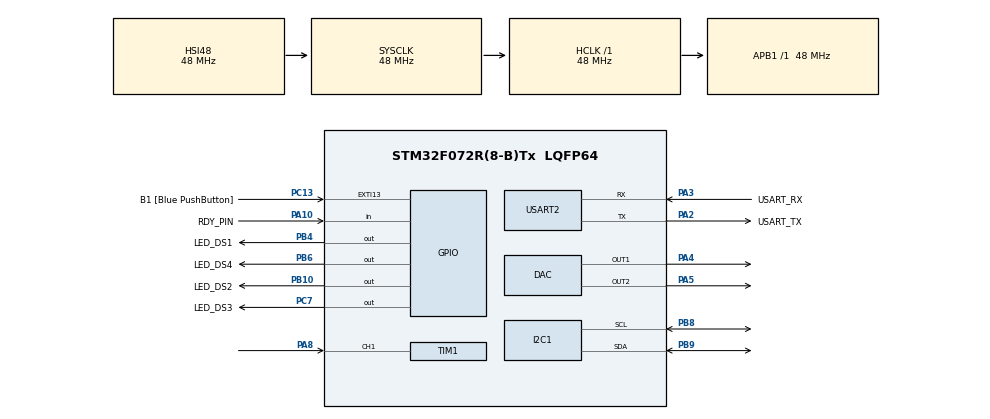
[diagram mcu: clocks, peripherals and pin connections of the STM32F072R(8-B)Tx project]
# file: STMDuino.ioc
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Mcu.Family=STM32F0
Mcu.Name=STM32F072R(8-B)Tx
Mcu.Package=LQFP64
PA10.GPIO_Label=RDY_PIN
PA10.GPIO_PuPd=GPIO_PULLUP
PA10.Signal=GPIO_Input
PA13.GPIO_Label=TMS
PA13.Mode=Serial_Wire
PA13.Signal=SYS_SWDIO
PA14.GPIO_Label=TCK
PA14.Mode=Serial_Wire
PA14.Signal=SYS_SWCLK
PA2.GPIO_Label=USART_TX
PA2.GPIO_Mode=GPIO_MODE_AF_PP
PA2.GPIO_PuPd=GPIO_NOPULL
PA2.GPIO_Speed=GPIO_SPEED_FREQ_LOW
PA2.Mode=Asynchronous
PA2.Signal=USART2_TX
PA3.GPIO_Label=USART_RX
PA3.GPIO_Mode=GPIO_MODE_AF_PP
PA3.GPIO_PuPd=GPIO_NOPULL
PA3.GPIO_Speed=GPIO_SPEED_FREQ_LOW
PA3.Mode=Asynchronous
PA3.Signal=USART2_RX
PA4.Signal=COMP_DAC1_group
PA5.Signal=COMP_DAC2_group
PA8.Signal=S_TIM1_CH1
PB10.GPIO_Label=LED_DS2
PB10.Signal=GPIO_Output
PB4.GPIO_Label=LED_DS1
PB4.Signal=GPIO_Output
PB6.GPIO_Label=LED_DS4
PB6.Signal=GPIO_Output
PB8.Mode=I2C
PB8.Signal=I2C1_SCL
PB9.Mode=I2C
PB9.Signal=I2C1_SDA
PC13.GPIO_Label=B1 [Blue PushButton]
PC13.GPIO_ModeDefaultEXTI=GPIO_MODE_IT_FALLING
PC13.Signal=GPXTI13
PC14-OSC32_IN.Mode=LSE-External-Oscillator
PC14-OSC32_IN.Signal=RCC_OSC32_IN
PC15-OSC32_OUT.Mode=LSE-External-Oscillator
PC15-OSC32_OUT.Signal=RCC_OSC32_OUT
PC7.GPIO_Label=LED_DS3
PC7.Signal=GPIO_Output
PF0-OSC_IN.Mode=HSE-External-Clock-Source
PF0-OSC_IN.Signal=RCC_OSC_IN
PF1-OSC_OUT.Signal=RCC_OSC_OUT
ProjectManager.HeapSize=0x200
ProjectManager.StackSize=0x400
ProjectManager.TargetToolchain=SW4STM32
RCC.AHBFreq_Value=48000000
RCC.APB1Freq_Value=48000000
RCC.APB1TimFreq_Value=48000000
RCC.FLatency-AdvancedSettings=FLASH_LATENCY_1
RCC.HCLKFreq_Value=48000000
RCC.PLLDivider=RCC_PREDIV_DIV2
RCC.PLLMUL=RCC_PLL_MUL12
RCC.PREFETCH_ENABLE-AdvancedSettings=1
RCC.SYSCLKFreq_VALUE=48000000
RCC.SYSCLKSource=RCC_SYSCLKSOURCE_HSI48
SH.COMP_DAC1_group.0=DAC_OUT1,DAC_OUT1
SH.COMP_DAC2_group.0=DAC_OUT2,DAC_OUT2
SH.S_TIM1_CH1.0=TIM1_CH1,Input_Capture1_from_TI1
TIM1.Channel-Input_Capture1_from_TI1=TIM_CHANNEL_1
USART2.VirtualMode=VM_ASYNC
USART2.VirtualMode-Asynchronous=VM_ASYNC
VP_TIM1_VS_ClockSourceINT.Mode=Internal
board=NUCLEO-F072RB

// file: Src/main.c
/* USER CODE BEGIN Header */
/**
 ******************************************************************************
 * @file           : main.c
 * @brief          : Main program body
 ******************************************************************************
 ** This notice applies to any and all portions of this file
 * that are not between comment pairs USER CODE BEGIN and
 * USER CODE END. Other portions of this file, whether
 * inserted by the user or by software development tools
 * are owned by their respective copyright owners.
 *
 * COPYRIGHT(c) 2020 STMicroelectronics
 *
 * Redistribution and use in source and binary forms, with or without
 *modification, are permitted provided that the following conditions are met:
 *   1. Redistributions of source code must retain the above copyright notice,
 *      this list of conditions and the following disclaimer.
 *   2. Redistributions in binary form must reproduce the above copyright
 *notice, this list of conditions and the following disclaimer in the
 *documentation and/or other materials provided with the distribution.
 *   3. Neither the name of STMicroelectronics nor the names of its contributors
 *      may be used to endorse or promote products derived from this software
 *      without specific prior written permission.
 *
 * THIS SOFTWARE IS PROVIDED BY THE COPYRIGHT HOLDERS AND CONTRIBUTORS "AS IS"
 * AND ANY EXPRESS OR IMPLIED WARRANTIES, INCLUDING, BUT NOT LIMITED TO, THE
 * IMPLIED WARRANTIES OF MERCHANTABILITY AND FITNESS FOR A PARTICULAR PURPOSE
 *ARE DISCLAIMED. IN NO EVENT SHALL THE COPYRIGHT HOLDER OR CONTRIBUTORS BE
 *LIABLE FOR ANY DIRECT, INDIRECT, INCIDENTAL, SPECIAL, EXEMPLARY, OR
 *CONSEQUENTIAL DAMAGES (INCLUDING, BUT NOT LIMITED TO, PROCUREMENT OF
 *SUBSTITUTE GOODS OR SERVICES; LOSS OF USE, DATA, OR PROFITS; OR BUSINESS
 *INTERRUPTION) HOWEVER CAUSED AND ON ANY THEORY OF LIABILITY, WHETHER IN
 *CONTRACT, STRICT LIABILITY, OR TORT (INCLUDING NEGLIGENCE OR OTHERWISE)
 *ARISING IN ANY WAY OUT OF THE USE OF THIS SOFTWARE, EVEN IF ADVISED OF THE
 *POSSIBILITY OF SUCH DAMAGE.
 *
 ******************************************************************************
 */
/* USER CODE END Header */

#include "main.h"
#include "dac.h"
#include "i2c.h"
#include "tim.h"
#include "usart.h"
#include "gpio.h"
#include "stm32f0xx_hal_dac.h"
#include "stdbool.h"

/* USER CODE BEGIN Includes */
#include <stdio.h>
#include <string.h>
#include <stdint.h>
#include <IQS_Series.h>
/* USER CODE END Includes */

/* USER CODE BEGIN PV */
uint8_t xres = 6;
uint8_t yres = 6;
uint8_t retToCenter = 0;
/* USER CODE END PV */

void SystemClock_Config(void);

/* USER CODE BEGIN 0 */
uint16_t DAC_Map(uint16_t input);
/* USER CODE END 0 */

int main(void)
{

  /* MCU Configuration--------------------------------------------------------*/

  /* Reset of all peripherals, Initializes the Flash interface and the Systick. */
  HAL_Init();

  /* Configure the system clock */
  SystemClock_Config();

  /* Initialize all configured peripherals */
  MX_GPIO_Init();
  MX_USART2_UART_Init();
  MX_I2C1_Init();
  MX_TIM1_Init();
  MX_DAC_Init();
  /* USER CODE BEGIN 2 */
    uint8_t TxHelloWorld[] = "Hello World\r\n";
    HAL_UART_Transmit(&huart2, (uint8_t*)TxHelloWorld, sizeof(TxHelloWorld),
                      1000);
    //HAL_GPIO_TogglePin(LD2_GPIO_Port, LD2_Pin);
    HAL_GPIO_TogglePin(GPIOB, LED_DS1_Pin);
    HAL_GPIO_TogglePin(GPIOB, LED_DS2_Pin);
    HAL_GPIO_TogglePin(LED_DS3_GPIO_Port, LED_DS3_Pin);
    HAL_GPIO_TogglePin(GPIOB, LED_DS4_Pin);

    IQS_Handle IQS = {&hi2c1, "Startup"};
    HAL_StatusTypeDef i2c_status;

    bool whyCantIJustReturn = 0;//turns out I can, clean later
    whyCantIJustReturn = IQS_CheckReset(&IQS);
    HAL_Delay(3);
    if (!whyCantIJustReturn){
    	RDY_Delay (5, 100);
    IQS_AckReset(&IQS);

    if (IQS.error != "Iz chill brah"){
        uint8_t ErrDec[] = "i2c Error \r\n";
        HAL_UART_Transmit(&huart2, (uint8_t*)ErrDec, sizeof(ErrDec), 1000);
        HAL_UART_Transmit(&huart2, (uint8_t*)IQS.error,
                         sizeof(IQS.error), 100);
    }
    }
    RDY_Delay (5, 100);
    IQS_resumeOperation(&IQS);

//    if (IQS.error != "Iz chill brah") {
//        int tries = 4;
//        for (int i = 0; i > tries; i++) {
//        	HAL_Delay(1);
//            uint8_t AckResErr[] = "Ack Reset Failed, retry\r\n";
//            HAL_UART_Transmit(&huart2, (uint8_t*)AckResErr, sizeof(AckResErr), 1000);
//            HAL_UART_Transmit(&huart2, (uint8_t*)IQS.error,
//                              sizeof(IQS.error), 100);
//			IQS_AckReset(&IQS);
//
//            if (IQS.error == "Iz chill brah") {
//                uint8_t AckResSuc[] = "Ack Reset Success\r\n";
//                HAL_UART_Transmit(&huart2, (uint8_t*)AckResSuc, sizeof(AckResSuc), 1000);
//                break;
//            }
//        }
//    }
//    IQS_resumeOperation(&IQS);
    char buf[80] = {0};
    uint8_t throwaway2=0;
    RDY_Delay (5, 100);
    i2c_status
        = HAL_I2C_Mem_Read(&hi2c1, IQS_I2C_Address, 0x0004, 1, &throwaway2, 1,
                           1000);  // address is for minor version, but line
                                   // mostly checks status.
    snprintf(buf, sizeof(buf), "Revision read as %u  \r\n", (unsigned)throwaway2);
    HAL_UART_Transmit(&huart2, (uint8_t*)buf, strlen(buf), 1000);

//    if (i2c_status != HAL_OK) {
//        MX_I2C1_Init();
//        if (IQS_CheckReset(&IQS) == 1) {
//            IQS_AckReset(&IQS);
//        }
//        uint8_t i2c_err_message[] = "i2c status error\r\n";
//        HAL_UART_Transmit(&huart2, (uint8_t*)i2c_err_message,
//                          sizeof(i2c_err_message), 100);
//    }
    RDY_Delay (5, 100);
    IQS_SystemConfig(&IQS);
    RDY_Delay (5, 100);
    IQS_ResoWriteXY(&IQS, xres, yres);

    snprintf(buf, sizeof(buf), "Reso set as %u by %u \r\n", (unsigned)xres,
             (unsigned)yres);
    HAL_UART_Transmit(&huart2, (uint8_t*)buf, strlen(buf), 1000);

    uint8_t read_x_res = 0;
    uint8_t read_y_res = 0;
    RDY_Delay (5, 100);
    IQS_ResoReadXY(&IQS, &read_x_res, &read_y_res);
    RDY_Delay (5, 100);
    IQS_resumeOperation(&IQS);
    snprintf(buf, sizeof(buf), "Reso read as %u by %u \r\n",
             (unsigned)read_x_res, (unsigned)read_y_res);
    HAL_UART_Transmit(&huart2, (uint8_t*)buf, strlen(buf), 1000);

//    HAL_DAC_Init(&hdac);
//    HAL_DAC_Start(&hdac, DAC_CHANNEL_1);
//    HAL_DAC_Start(&hdac, DAC_CHANNEL_2);
//    uint32_t initValue = 2048;
//    HAL_DAC_SetValue(&hdac, DAC_CHANNEL_1, DAC_ALIGN_12B_R, initValue);
//    HAL_DAC_SetValue(&hdac, DAC_CHANNEL_2, DAC_ALIGN_12B_R, initValue);

  /* USER CODE END 2 */

  /* Infinite loop */
  /* USER CODE BEGIN WHILE */
     while (1) {

         if (HAL_GPIO_ReadPin(RDY_PIN_GPIO_Port, RDY_PIN_Pin) == 1) {

             uint16_t read_x = 0;
             uint16_t read_y = 0;
             IQS_ReadPosABS(&IQS, &read_x, &read_y);
             IQS_resumeOperation(&IQS);

             uint16_t dac_x = 2048;
             uint16_t dac_y = 2048;
             dac_x = DAC_Map(read_x);
             dac_y = DAC_Map(read_y);
             snprintf(buf, sizeof(buf), "Dac: %u, map: %u \r\n", (unsigned)read_x,
                      (unsigned)dac_x);
             HAL_UART_Transmit(&huart2, (uint8_t*)buf, strlen(buf), 1000);

//             HAL_DAC_SetValue(&hdac, DAC_CHANNEL_1, DAC_ALIGN_12B_R, dac_x);
//             HAL_DAC_SetValue(&hdac, DAC_CHANNEL_2, DAC_ALIGN_12B_R, dac_y);

             snprintf(buf, sizeof(buf), "%u, %u \r\n", (unsigned)read_x,
                      (unsigned)read_y);
             HAL_UART_Transmit(&huart2, (uint8_t*)buf, strlen(buf), 1000);
             retToCenter=1;
             //HAL_Delay(100);
         }
//         else if (retToCenter != 0){
//        	 uint16_t touch_S = 0;
//        	 uint16_t touch_thresh = 5 ;
//        	 IQS_ReadTouchStr(&IQS, &touch_S);
//             snprintf(buf, sizeof(buf), "Touch Strength %u \r\n", (unsigned)touch_S);
//             HAL_UART_Transmit(&huart2, (uint8_t*)buf, strlen(buf), 1000);
//        	 if(touch_S < touch_thresh){
//                 HAL_DAC_SetValue(&hdac, DAC_CHANNEL_1, DAC_ALIGN_12B_R, 2048);
//                 HAL_DAC_SetValue(&hdac, DAC_CHANNEL_2, DAC_ALIGN_12B_R, 2048);
//                 retToCenter = 0;
//        	 }
//
//         }

     }
    /* USER CODE END WHILE */

}

uint16_t DAC_Map(uint16_t input){
	uint16_t output = 0;
	if (input > 2000) output = 2048;
	else{
		output = (input)*(4096)/(1000);
		if (output > 4096) output = 4096;
		else if (output < 0) output = 0;
	}

	return output;
}

void RDY_Delay (uint8_t delay_ms, uint8_t retries){
    uint8_t attempt = 0;
    HAL_Delay(3);
	while (HAL_GPIO_ReadPin(RDY_PIN_GPIO_Port, RDY_PIN_Pin)==0 && attempt < retries){
    	attempt ++;
		HAL_Delay(delay_ms);
	}
}

void SystemClock_Config(void)
{
  RCC_OscInitTypeDef RCC_OscInitStruct = {0};
  RCC_ClkInitTypeDef RCC_ClkInitStruct = {0};
  RCC_PeriphCLKInitTypeDef PeriphClkInit = {0};

  /**Initializes the CPU, AHB and APB busses clocks
  */
  RCC_OscInitStruct.OscillatorType = RCC_OSCILLATORTYPE_HSI|RCC_OSCILLATORTYPE_HSI48;
  RCC_OscInitStruct.HSIState = RCC_HSI_ON;
  RCC_OscInitStruct.HSI48State = RCC_HSI48_ON;
  RCC_OscInitStruct.HSICalibrationValue = RCC_HSICALIBRATION_DEFAULT;
  RCC_OscInitStruct.PLL.PLLState = RCC_PLL_NONE;
  if (HAL_RCC_OscConfig(&RCC_OscInitStruct) != HAL_OK)
  {
    Error_Handler();
  }
  /**Initializes the CPU, AHB and APB busses clocks
  */
  RCC_ClkInitStruct.ClockType = RCC_CLOCKTYPE_HCLK|RCC_CLOCKTYPE_SYSCLK
                              |RCC_CLOCKTYPE_PCLK1;
  RCC_ClkInitStruct.SYSCLKSource = RCC_SYSCLKSOURCE_HSI48;
  RCC_ClkInitStruct.AHBCLKDivider = RCC_SYSCLK_DIV1;
  RCC_ClkInitStruct.APB1CLKDivider = RCC_HCLK_DIV1;

  if (HAL_RCC_ClockConfig(&RCC_ClkInitStruct, FLASH_LATENCY_1) != HAL_OK)
  {
    Error_Handler();
  }
  PeriphClkInit.PeriphClockSelection = RCC_PERIPHCLK_USART2|RCC_PERIPHCLK_I2C1;
  PeriphClkInit.Usart2ClockSelection = RCC_USART2CLKSOURCE_PCLK1;
  PeriphClkInit.I2c1ClockSelection = RCC_I2C1CLKSOURCE_HSI;
  if (HAL_RCCEx_PeriphCLKConfig(&PeriphClkInit) != HAL_OK)
  {
    Error_Handler();
  }
}

void Error_Handler(void)
{
  /* USER CODE BEGIN Error_Handler_Debug */
    /* User can add his own implementation to report the HAL error return state
     */

  /* USER CODE END Error_Handler_Debug */
}

#ifdef  USE_FULL_ASSERT
/**
  * @brief  Reports the name of the source file and the source line number
  *         where the assert_param error has occurred.
  * @param  file: pointer to the source file name
  * @param  line: assert_param error line source number
  * @retval None
  */
void assert_failed(char *file, uint32_t line)
{
  /* USER CODE BEGIN 6 */
    /* User can add his own implementation to report the file name and line
       number, tex: printf("Wrong parameters value: file %s on line %d\r\n",
       file, line) */
  /* USER CODE END 6 */
}
#endif /* USE_FULL_ASSERT */

/************************ (C) COPYRIGHT STMicroelectronics *****END OF FILE****/
